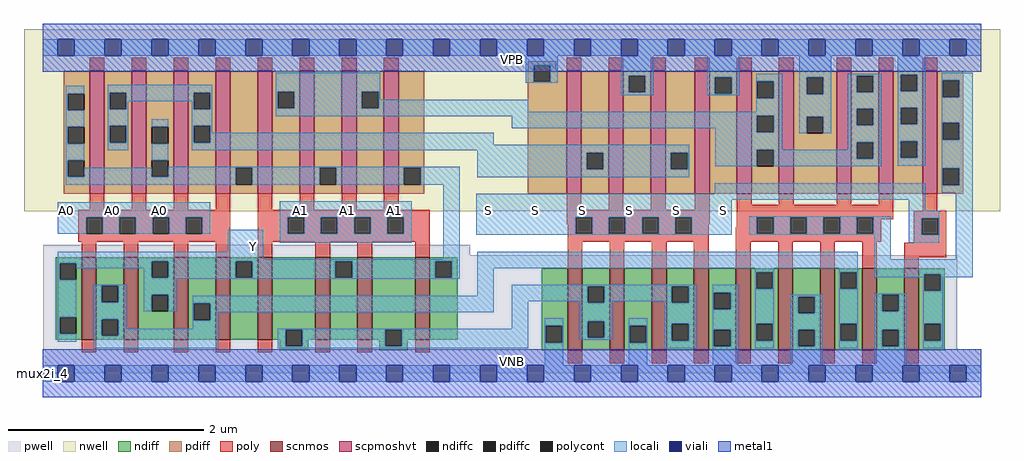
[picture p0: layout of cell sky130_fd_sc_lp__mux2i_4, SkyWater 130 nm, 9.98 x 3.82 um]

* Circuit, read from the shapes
.subckt sky130_fd_sc_lp__mux2i_4 A0 A1 S VGND VNB VPB VPWR Y
XM1 n1 A0 Y VNB sky130_fd_pr__nfet_01v8 w=0.84 l=0.15 m=4
XM2 n2 A1 Y VNB sky130_fd_pr__nfet_01v8 w=0.84 l=0.15 m=4
XM3 n2 S VGND VNB sky130_fd_pr__nfet_01v8 w=0.84 l=0.15 m=4
XM4 n1 n3 VGND VNB sky130_fd_pr__nfet_01v8 w=0.84 l=0.15 m=4
XM5 n3 S VGND VNB sky130_fd_pr__nfet_01v8 w=0.84 l=0.15
XM6 n4 A0 Y VPB sky130_fd_pr__pfet_01v8_hvt w=1.26 l=0.15 m=4
XM7 n5 A1 Y VPB sky130_fd_pr__pfet_01v8_hvt w=1.26 l=0.15 m=4
XM8 n4 S VPWR VPB sky130_fd_pr__pfet_01v8_hvt w=1.26 l=0.15 m=4
XM9 n5 n3 VPWR VPB sky130_fd_pr__pfet_01v8_hvt w=1.26 l=0.15 m=4
XM10 n3 S VPWR VPB sky130_fd_pr__pfet_01v8_hvt w=1.26 l=0.15
.ends

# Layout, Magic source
magic
tech sky130A
magscale 1 2
<< nwell >>
rect -38 331 1958 704
<< pwell >>
rect 1 241 875 263
rect 1 49 1871 241
rect 0 0 1920 49
<< scnmos >>
rect 80 69 110 237
rect 166 69 196 237
rect 268 69 298 237
rect 354 69 384 237
rect 440 69 470 237
rect 558 69 588 237
rect 644 69 674 237
rect 762 69 792 237
rect 1074 47 1104 215
rect 1160 47 1190 215
rect 1246 47 1276 215
rect 1332 47 1362 215
rect 1418 47 1448 215
rect 1504 47 1534 215
rect 1590 47 1620 215
rect 1676 47 1706 215
rect 1762 47 1792 215
<< scpmoshvt >>
rect 96 367 126 619
rect 182 367 212 619
rect 268 367 298 619
rect 354 367 384 619
rect 440 367 470 619
rect 526 367 556 619
rect 612 367 642 619
rect 698 367 728 619
rect 1072 367 1102 619
rect 1158 367 1188 619
rect 1244 367 1274 619
rect 1334 367 1364 619
rect 1420 367 1450 619
rect 1506 367 1536 619
rect 1624 367 1654 619
rect 1710 367 1740 619
rect 1800 367 1830 619
<< ndiff >>
rect 27 225 80 237
rect 27 191 35 225
rect 69 191 80 225
rect 27 115 80 191
rect 27 81 35 115
rect 69 81 80 115
rect 27 69 80 81
rect 110 179 166 237
rect 110 145 121 179
rect 155 145 166 179
rect 110 111 166 145
rect 110 77 121 111
rect 155 77 166 111
rect 110 69 166 77
rect 196 229 268 237
rect 196 195 223 229
rect 257 195 268 229
rect 196 161 268 195
rect 196 127 223 161
rect 257 127 268 161
rect 196 69 268 127
rect 298 143 354 237
rect 298 109 309 143
rect 343 109 354 143
rect 298 69 354 109
rect 384 229 440 237
rect 384 195 395 229
rect 429 195 440 229
rect 384 69 440 195
rect 470 89 558 237
rect 470 69 497 89
rect 485 55 497 69
rect 531 69 558 89
rect 588 229 644 237
rect 588 195 599 229
rect 633 195 644 229
rect 588 69 644 195
rect 674 89 762 237
rect 674 69 701 89
rect 531 55 543 69
rect 485 47 543 55
rect 689 55 701 69
rect 735 69 762 89
rect 792 229 849 237
rect 792 195 803 229
rect 837 195 849 229
rect 792 69 849 195
rect 1021 97 1074 215
rect 735 55 747 69
rect 689 47 747 55
rect 1021 63 1029 97
rect 1063 63 1074 97
rect 1021 47 1074 63
rect 1104 178 1160 215
rect 1104 144 1115 178
rect 1149 144 1160 178
rect 1104 107 1160 144
rect 1104 73 1115 107
rect 1149 73 1160 107
rect 1104 47 1160 73
rect 1190 97 1246 215
rect 1190 63 1201 97
rect 1235 63 1246 97
rect 1190 47 1246 63
rect 1276 178 1332 215
rect 1276 144 1287 178
rect 1321 144 1332 178
rect 1276 101 1332 144
rect 1276 67 1287 101
rect 1321 67 1332 101
rect 1276 47 1332 67
rect 1362 165 1418 215
rect 1362 131 1373 165
rect 1407 131 1418 165
rect 1362 89 1418 131
rect 1362 55 1373 89
rect 1407 55 1418 89
rect 1362 47 1418 55
rect 1448 207 1504 215
rect 1448 173 1459 207
rect 1493 173 1504 207
rect 1448 101 1504 173
rect 1448 67 1459 101
rect 1493 67 1504 101
rect 1448 47 1504 67
rect 1534 157 1590 215
rect 1534 123 1545 157
rect 1579 123 1590 157
rect 1534 89 1590 123
rect 1534 55 1545 89
rect 1579 55 1590 89
rect 1534 47 1590 55
rect 1620 207 1676 215
rect 1620 173 1631 207
rect 1665 173 1676 207
rect 1620 101 1676 173
rect 1620 67 1631 101
rect 1665 67 1676 101
rect 1620 47 1676 67
rect 1706 161 1762 215
rect 1706 127 1717 161
rect 1751 127 1762 161
rect 1706 89 1762 127
rect 1706 55 1717 89
rect 1751 55 1762 89
rect 1706 47 1762 55
rect 1792 203 1845 215
rect 1792 169 1803 203
rect 1837 169 1845 203
rect 1792 101 1845 169
rect 1792 67 1803 101
rect 1837 67 1845 101
rect 1792 47 1845 67
<< pdiff >>
rect 992 630 1050 638
rect 43 572 96 619
rect 43 538 51 572
rect 85 538 96 572
rect 43 504 96 538
rect 43 470 51 504
rect 85 470 96 504
rect 43 436 96 470
rect 43 402 51 436
rect 85 402 96 436
rect 43 367 96 402
rect 126 574 182 619
rect 126 540 137 574
rect 171 540 182 574
rect 126 506 182 540
rect 126 472 137 506
rect 171 472 182 506
rect 126 367 182 472
rect 212 504 268 619
rect 212 470 223 504
rect 257 470 268 504
rect 212 436 268 470
rect 212 402 223 436
rect 257 402 268 436
rect 212 367 268 402
rect 298 574 354 619
rect 298 540 309 574
rect 343 540 354 574
rect 298 506 354 540
rect 298 472 309 506
rect 343 472 354 506
rect 298 367 354 472
rect 384 420 440 619
rect 384 386 395 420
rect 429 386 440 420
rect 384 367 440 386
rect 470 576 526 619
rect 470 542 481 576
rect 515 542 526 576
rect 470 367 526 542
rect 556 420 612 619
rect 556 386 567 420
rect 601 386 612 420
rect 556 367 612 386
rect 642 576 698 619
rect 642 542 653 576
rect 687 542 698 576
rect 642 367 698 542
rect 728 420 781 619
rect 728 386 739 420
rect 773 386 781 420
rect 728 367 781 386
rect 992 596 1004 630
rect 1038 619 1050 630
rect 1038 596 1072 619
rect 992 367 1072 596
rect 1102 451 1158 619
rect 1102 417 1113 451
rect 1147 417 1158 451
rect 1102 367 1158 417
rect 1188 609 1244 619
rect 1188 575 1199 609
rect 1233 575 1244 609
rect 1188 367 1244 575
rect 1274 451 1334 619
rect 1274 417 1285 451
rect 1319 417 1334 451
rect 1274 367 1334 417
rect 1364 606 1420 619
rect 1364 572 1375 606
rect 1409 572 1420 606
rect 1364 367 1420 572
rect 1450 597 1506 619
rect 1450 563 1461 597
rect 1495 563 1506 597
rect 1450 527 1506 563
rect 1450 493 1461 527
rect 1495 493 1506 527
rect 1450 457 1506 493
rect 1450 423 1461 457
rect 1495 423 1506 457
rect 1450 367 1506 423
rect 1536 605 1624 619
rect 1536 571 1563 605
rect 1597 571 1624 605
rect 1536 525 1624 571
rect 1536 491 1563 525
rect 1597 491 1624 525
rect 1536 367 1624 491
rect 1654 609 1710 619
rect 1654 575 1665 609
rect 1699 575 1710 609
rect 1654 541 1710 575
rect 1654 507 1665 541
rect 1699 507 1710 541
rect 1654 473 1710 507
rect 1654 439 1665 473
rect 1699 439 1710 473
rect 1654 367 1710 439
rect 1740 611 1800 619
rect 1740 577 1755 611
rect 1789 577 1800 611
rect 1740 543 1800 577
rect 1740 509 1755 543
rect 1789 509 1800 543
rect 1740 475 1800 509
rect 1740 441 1755 475
rect 1789 441 1800 475
rect 1740 367 1800 441
rect 1830 599 1883 619
rect 1830 565 1841 599
rect 1875 565 1883 599
rect 1830 512 1883 565
rect 1830 478 1841 512
rect 1875 478 1883 512
rect 1830 419 1883 478
rect 1830 385 1841 419
rect 1875 385 1883 419
rect 1830 367 1883 385
<< ndiffc >>
rect 35 191 69 225
rect 35 81 69 115
rect 121 145 155 179
rect 121 77 155 111
rect 223 195 257 229
rect 223 127 257 161
rect 309 109 343 143
rect 395 195 429 229
rect 497 55 531 89
rect 599 195 633 229
rect 701 55 735 89
rect 803 195 837 229
rect 1029 63 1063 97
rect 1115 144 1149 178
rect 1115 73 1149 107
rect 1201 63 1235 97
rect 1287 144 1321 178
rect 1287 67 1321 101
rect 1373 131 1407 165
rect 1373 55 1407 89
rect 1459 173 1493 207
rect 1459 67 1493 101
rect 1545 123 1579 157
rect 1545 55 1579 89
rect 1631 173 1665 207
rect 1631 67 1665 101
rect 1717 127 1751 161
rect 1717 55 1751 89
rect 1803 169 1837 203
rect 1803 67 1837 101
<< pdiffc >>
rect 51 538 85 572
rect 51 470 85 504
rect 51 402 85 436
rect 137 540 171 574
rect 137 472 171 506
rect 223 470 257 504
rect 223 402 257 436
rect 309 540 343 574
rect 309 472 343 506
rect 395 386 429 420
rect 481 542 515 576
rect 567 386 601 420
rect 653 542 687 576
rect 739 386 773 420
rect 1004 596 1038 630
rect 1113 417 1147 451
rect 1199 575 1233 609
rect 1285 417 1319 451
rect 1375 572 1409 606
rect 1461 563 1495 597
rect 1461 493 1495 527
rect 1461 423 1495 457
rect 1563 571 1597 605
rect 1563 491 1597 525
rect 1665 575 1699 609
rect 1665 507 1699 541
rect 1665 439 1699 473
rect 1755 577 1789 611
rect 1755 509 1789 543
rect 1755 441 1789 475
rect 1841 565 1875 599
rect 1841 478 1875 512
rect 1841 385 1875 419
<< poly >>
rect 96 619 126 645
rect 182 619 212 645
rect 268 619 298 645
rect 354 619 384 645
rect 440 619 470 645
rect 526 619 556 645
rect 612 619 642 645
rect 698 619 728 645
rect 1072 619 1102 645
rect 1158 619 1188 645
rect 1244 619 1274 645
rect 1334 619 1364 645
rect 1420 619 1450 645
rect 1506 619 1536 645
rect 1624 619 1654 645
rect 1710 619 1740 645
rect 1800 619 1830 645
rect 96 335 126 367
rect 182 335 212 367
rect 268 335 298 367
rect 354 335 384 367
rect 73 319 384 335
rect 73 285 89 319
rect 123 285 157 319
rect 191 285 225 319
rect 259 285 293 319
rect 327 285 384 319
rect 73 269 384 285
rect 80 237 110 269
rect 166 237 196 269
rect 268 237 298 269
rect 354 237 384 269
rect 440 335 470 367
rect 526 335 556 367
rect 612 335 642 367
rect 698 335 728 367
rect 1072 335 1102 367
rect 1158 335 1188 367
rect 1244 335 1274 367
rect 1334 335 1364 367
rect 440 319 792 335
rect 440 285 501 319
rect 535 285 569 319
rect 603 285 637 319
rect 671 285 705 319
rect 739 285 792 319
rect 1072 319 1364 335
rect 1072 305 1090 319
rect 440 269 792 285
rect 440 237 470 269
rect 558 237 588 269
rect 644 237 674 269
rect 762 237 792 269
rect 1074 285 1090 305
rect 1124 285 1158 319
rect 1192 285 1226 319
rect 1260 285 1294 319
rect 1328 305 1364 319
rect 1420 345 1450 367
rect 1506 345 1536 367
rect 1624 345 1654 367
rect 1710 345 1740 367
rect 1420 319 1740 345
rect 1800 333 1830 367
rect 1328 285 1362 305
rect 1420 299 1461 319
rect 1074 269 1362 285
rect 80 43 110 69
rect 166 43 196 69
rect 268 43 298 69
rect 354 43 384 69
rect 440 43 470 69
rect 558 43 588 69
rect 644 43 674 69
rect 1074 215 1104 269
rect 1160 215 1190 269
rect 1246 215 1276 269
rect 1332 215 1362 269
rect 1418 285 1461 299
rect 1495 285 1529 319
rect 1563 285 1597 319
rect 1631 285 1665 319
rect 1699 315 1740 319
rect 1782 317 1848 333
rect 1699 285 1715 315
rect 1418 269 1715 285
rect 1782 283 1798 317
rect 1832 283 1848 317
rect 1418 215 1448 269
rect 1504 215 1534 269
rect 1590 215 1620 269
rect 1676 215 1706 269
rect 1782 267 1848 283
rect 1762 237 1848 267
rect 1762 215 1792 237
rect 762 43 792 69
rect 1074 21 1104 47
rect 1160 21 1190 47
rect 1246 21 1276 47
rect 1332 21 1362 47
rect 1418 21 1448 47
rect 1504 21 1534 47
rect 1590 21 1620 47
rect 1676 21 1706 47
rect 1762 21 1792 47
<< polycont >>
rect 89 285 123 319
rect 157 285 191 319
rect 225 285 259 319
rect 293 285 327 319
rect 501 285 535 319
rect 569 285 603 319
rect 637 285 671 319
rect 705 285 739 319
rect 1090 285 1124 319
rect 1158 285 1192 319
rect 1226 285 1260 319
rect 1294 285 1328 319
rect 1461 285 1495 319
rect 1529 285 1563 319
rect 1597 285 1631 319
rect 1665 285 1699 319
rect 1798 283 1832 317
<< locali >>
rect 0 649 31 683
rect 65 649 127 683
rect 161 649 223 683
rect 257 649 319 683
rect 353 649 415 683
rect 449 649 511 683
rect 545 649 607 683
rect 641 649 703 683
rect 737 649 799 683
rect 833 649 895 683
rect 929 649 991 683
rect 1025 649 1087 683
rect 1121 649 1183 683
rect 1217 649 1279 683
rect 1313 649 1375 683
rect 1409 649 1471 683
rect 1505 649 1567 683
rect 1601 649 1663 683
rect 1697 649 1759 683
rect 1793 649 1855 683
rect 1889 649 1920 683
rect 988 630 1054 649
rect 47 572 85 588
rect 47 538 51 572
rect 47 504 85 538
rect 47 470 51 504
rect 47 436 85 470
rect 133 574 347 590
rect 133 540 137 574
rect 171 556 309 574
rect 171 540 175 556
rect 133 506 175 540
rect 305 540 309 556
rect 343 540 347 574
rect 133 472 137 506
rect 171 472 175 506
rect 133 456 175 472
rect 223 504 257 520
rect 47 402 51 436
rect 223 436 257 470
rect 305 506 347 540
rect 477 576 691 615
rect 988 596 1004 630
rect 1038 596 1054 630
rect 988 594 1054 596
rect 1183 609 1249 649
rect 477 542 481 576
rect 515 542 653 576
rect 687 560 691 576
rect 1183 575 1199 609
rect 1233 575 1249 609
rect 1183 569 1249 575
rect 1359 606 1425 649
rect 1359 572 1375 606
rect 1409 572 1425 606
rect 1359 569 1425 572
rect 1459 597 1513 613
rect 1459 563 1461 597
rect 1495 563 1513 597
rect 687 542 993 560
rect 477 535 993 542
rect 1459 535 1513 563
rect 477 527 1513 535
rect 477 526 1461 527
rect 305 472 309 506
rect 343 492 347 506
rect 959 501 1461 526
rect 1376 493 1461 501
rect 1495 493 1513 527
rect 343 472 923 492
rect 305 467 923 472
rect 305 456 1323 467
rect 85 402 223 420
rect 889 451 1323 456
rect 257 420 853 422
rect 257 402 395 420
rect 47 386 395 402
rect 429 386 567 420
rect 601 386 739 420
rect 773 386 853 420
rect 889 417 1113 451
rect 1147 417 1285 451
rect 1319 417 1323 451
rect 1376 457 1513 493
rect 1547 605 1613 649
rect 1547 571 1563 605
rect 1597 571 1613 605
rect 1547 525 1613 571
rect 1547 491 1563 525
rect 1597 491 1613 525
rect 1647 609 1715 613
rect 1647 575 1665 609
rect 1699 575 1715 609
rect 1647 541 1715 575
rect 1647 507 1665 541
rect 1699 507 1715 541
rect 1647 473 1715 507
rect 1647 457 1665 473
rect 1376 423 1461 457
rect 1495 439 1665 457
rect 1699 439 1715 473
rect 1495 423 1715 439
rect 1749 611 1805 649
rect 1749 577 1755 611
rect 1789 577 1805 611
rect 1749 543 1805 577
rect 1749 509 1755 543
rect 1789 509 1805 543
rect 1749 475 1805 509
rect 1749 441 1755 475
rect 1789 441 1805 475
rect 1749 425 1805 441
rect 1839 599 1902 615
rect 1839 565 1841 599
rect 1875 565 1902 599
rect 1839 512 1902 565
rect 1839 478 1841 512
rect 1875 478 1902 512
rect 889 401 1323 417
rect 1839 419 1902 478
rect 31 319 343 350
rect 31 285 89 319
rect 123 285 157 319
rect 191 285 225 319
rect 259 285 293 319
rect 327 285 343 319
rect 485 319 755 352
rect 379 249 451 294
rect 485 285 501 319
rect 535 285 569 319
rect 603 285 637 319
rect 671 285 705 319
rect 739 285 755 319
rect 485 267 755 285
rect 31 233 451 249
rect 819 233 853 386
rect 1375 367 1805 389
rect 1839 385 1841 419
rect 1875 385 1902 419
rect 1839 369 1902 385
rect 887 355 1805 367
rect 887 319 1409 355
rect 1771 333 1805 355
rect 887 285 1090 319
rect 1124 285 1158 319
rect 1192 285 1226 319
rect 1260 285 1294 319
rect 1328 285 1409 319
rect 887 283 1409 285
rect 1445 319 1735 321
rect 1445 285 1461 319
rect 1495 285 1529 319
rect 1563 285 1597 319
rect 1631 285 1665 319
rect 1699 285 1735 319
rect 1445 283 1735 285
rect 31 229 853 233
rect 31 225 223 229
rect 31 191 35 225
rect 69 215 223 225
rect 31 115 69 191
rect 207 195 223 215
rect 257 195 395 229
rect 429 195 599 229
rect 633 195 803 229
rect 837 195 853 229
rect 207 193 853 195
rect 889 215 1667 249
rect 31 81 35 115
rect 31 65 69 81
rect 105 179 171 181
rect 105 145 121 179
rect 155 145 171 179
rect 105 111 171 145
rect 207 161 273 193
rect 207 127 223 161
rect 257 127 273 161
rect 889 159 923 215
rect 1457 207 1495 215
rect 307 143 923 159
rect 105 77 121 111
rect 155 91 171 111
rect 307 109 309 143
rect 343 125 923 143
rect 959 178 1337 181
rect 959 147 1115 178
rect 343 109 359 125
rect 307 91 359 109
rect 959 91 993 147
rect 1099 144 1115 147
rect 1149 147 1287 178
rect 1149 144 1165 147
rect 155 77 359 91
rect 105 51 359 77
rect 481 89 993 91
rect 481 55 497 89
rect 531 55 701 89
rect 735 55 993 89
rect 481 51 993 55
rect 1027 97 1065 113
rect 1027 63 1029 97
rect 1063 63 1065 97
rect 1099 107 1165 144
rect 1271 144 1287 147
rect 1321 144 1337 178
rect 1099 73 1115 107
rect 1149 73 1165 107
rect 1099 69 1165 73
rect 1199 97 1237 113
rect 1027 17 1065 63
rect 1199 63 1201 97
rect 1235 63 1237 97
rect 1199 17 1237 63
rect 1271 101 1337 144
rect 1271 67 1287 101
rect 1321 67 1337 101
rect 1271 51 1337 67
rect 1371 165 1423 181
rect 1371 131 1373 165
rect 1407 131 1423 165
rect 1371 89 1423 131
rect 1371 55 1373 89
rect 1407 55 1423 89
rect 1371 17 1423 55
rect 1457 173 1459 207
rect 1493 173 1495 207
rect 1457 101 1495 173
rect 1629 207 1667 215
rect 1629 173 1631 207
rect 1665 173 1667 207
rect 1701 233 1735 283
rect 1771 317 1834 333
rect 1771 283 1798 317
rect 1832 283 1834 317
rect 1771 267 1834 283
rect 1868 233 1902 369
rect 1701 203 1902 233
rect 1701 197 1803 203
rect 1457 67 1459 101
rect 1493 67 1495 101
rect 1457 51 1495 67
rect 1529 157 1595 161
rect 1529 123 1545 157
rect 1579 123 1595 157
rect 1529 89 1595 123
rect 1529 55 1545 89
rect 1579 55 1595 89
rect 1529 17 1595 55
rect 1629 101 1667 173
rect 1801 169 1803 197
rect 1837 197 1902 203
rect 1837 169 1841 197
rect 1629 67 1631 101
rect 1665 67 1667 101
rect 1629 51 1667 67
rect 1701 161 1767 163
rect 1701 127 1717 161
rect 1751 127 1767 161
rect 1701 89 1767 127
rect 1701 55 1717 89
rect 1751 55 1767 89
rect 1701 17 1767 55
rect 1801 101 1841 169
rect 1801 67 1803 101
rect 1837 67 1841 101
rect 1801 51 1841 67
rect 0 -17 31 17
rect 65 -17 127 17
rect 161 -17 223 17
rect 257 -17 319 17
rect 353 -17 415 17
rect 449 -17 511 17
rect 545 -17 607 17
rect 641 -17 703 17
rect 737 -17 799 17
rect 833 -17 895 17
rect 929 -17 991 17
rect 1025 -17 1087 17
rect 1121 -17 1183 17
rect 1217 -17 1279 17
rect 1313 -17 1375 17
rect 1409 -17 1471 17
rect 1505 -17 1567 17
rect 1601 -17 1663 17
rect 1697 -17 1759 17
rect 1793 -17 1855 17
rect 1889 -17 1920 17
<< viali >>
rect 31 649 65 683
rect 127 649 161 683
rect 223 649 257 683
rect 319 649 353 683
rect 415 649 449 683
rect 511 649 545 683
rect 607 649 641 683
rect 703 649 737 683
rect 799 649 833 683
rect 895 649 929 683
rect 991 649 1025 683
rect 1087 649 1121 683
rect 1183 649 1217 683
rect 1279 649 1313 683
rect 1375 649 1409 683
rect 1471 649 1505 683
rect 1567 649 1601 683
rect 1663 649 1697 683
rect 1759 649 1793 683
rect 1855 649 1889 683
rect 31 -17 65 17
rect 127 -17 161 17
rect 223 -17 257 17
rect 319 -17 353 17
rect 415 -17 449 17
rect 511 -17 545 17
rect 607 -17 641 17
rect 703 -17 737 17
rect 799 -17 833 17
rect 895 -17 929 17
rect 991 -17 1025 17
rect 1087 -17 1121 17
rect 1183 -17 1217 17
rect 1279 -17 1313 17
rect 1375 -17 1409 17
rect 1471 -17 1505 17
rect 1567 -17 1601 17
rect 1663 -17 1697 17
rect 1759 -17 1793 17
rect 1855 -17 1889 17
<< metal1 >>
rect 0 683 1920 715
rect 0 649 31 683
rect 65 649 127 683
rect 161 649 223 683
rect 257 649 319 683
rect 353 649 415 683
rect 449 649 511 683
rect 545 649 607 683
rect 641 649 703 683
rect 737 649 799 683
rect 833 649 895 683
rect 929 649 991 683
rect 1025 649 1087 683
rect 1121 649 1183 683
rect 1217 649 1279 683
rect 1313 649 1375 683
rect 1409 649 1471 683
rect 1505 649 1567 683
rect 1601 649 1663 683
rect 1697 649 1759 683
rect 1793 649 1855 683
rect 1889 649 1920 683
rect 0 617 1920 649
rect 0 17 1920 49
rect 0 -17 31 17
rect 65 -17 127 17
rect 161 -17 223 17
rect 257 -17 319 17
rect 353 -17 415 17
rect 449 -17 511 17
rect 545 -17 607 17
rect 641 -17 703 17
rect 737 -17 799 17
rect 833 -17 895 17
rect 929 -17 991 17
rect 1025 -17 1087 17
rect 1121 -17 1183 17
rect 1217 -17 1279 17
rect 1313 -17 1375 17
rect 1409 -17 1471 17
rect 1505 -17 1567 17
rect 1601 -17 1663 17
rect 1697 -17 1759 17
rect 1793 -17 1855 17
rect 1889 -17 1920 17
rect 0 -49 1920 -17
<< labels >>
flabel pwell s 0 0 1920 49 0 FreeSans 200 0 0 0 VNB
port 5 nsew ground bidirectional
flabel nwell s 0 617 1920 666 0 FreeSans 200 0 0 0 VPB
port 6 nsew power bidirectional
rlabel comment s 0 0 0 0 4 mux2i_4
flabel metal1 s 0 617 1920 666 0 FreeSans 340 0 0 0 VPWR
port 7 nsew power bidirectional
flabel metal1 s 0 0 1920 49 0 FreeSans 340 0 0 0 VGND
port 4 nsew ground bidirectional
flabel locali s 895 316 929 350 0 FreeSans 340 0 0 0 S
port 3 nsew signal input
flabel locali s 991 316 1025 350 0 FreeSans 340 0 0 0 S
port 3 nsew signal input
flabel locali s 1087 316 1121 350 0 FreeSans 340 0 0 0 S
port 3 nsew signal input
flabel locali s 1183 316 1217 350 0 FreeSans 340 0 0 0 S
port 3 nsew signal input
flabel locali s 1279 316 1313 350 0 FreeSans 340 0 0 0 S
port 3 nsew signal input
flabel locali s 1375 316 1409 350 0 FreeSans 340 0 0 0 S
port 3 nsew signal input
flabel locali s 415 242 449 276 0 FreeSans 340 0 0 0 Y
port 8 nsew signal output
flabel locali s 31 316 65 350 0 FreeSans 340 0 0 0 A0
port 1 nsew signal input
flabel locali s 127 316 161 350 0 FreeSans 340 0 0 0 A0
port 1 nsew signal input
flabel locali s 223 316 257 350 0 FreeSans 340 0 0 0 A0
port 1 nsew signal input
flabel locali s 511 316 545 350 0 FreeSans 340 0 0 0 A1
port 2 nsew signal input
flabel locali s 607 316 641 350 0 FreeSans 340 0 0 0 A1
port 2 nsew signal input
flabel locali s 703 316 737 350 0 FreeSans 340 0 0 0 A1
port 2 nsew signal input
<< properties >>
string LEFsite unit
string LEFclass CORE
string FIXED_BBOX 0 0 1920 666
string GDS_FILE $PDKPATH/libs.ref/sky130_fd_sc_lp/gds/sky130_fd_sc_lp.gds
string LEFsymmetry X Y R90
string GDS_END 3863264
string GDS_START 3849196
<< end >>
